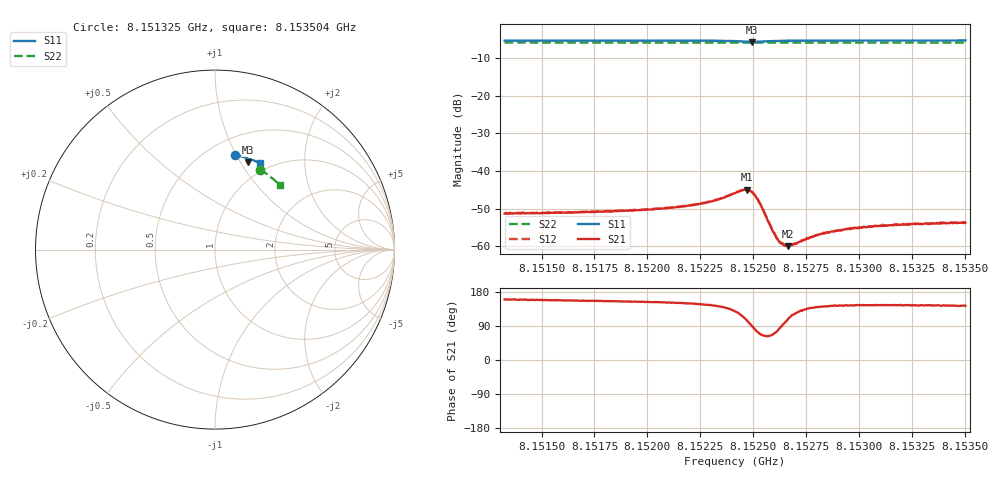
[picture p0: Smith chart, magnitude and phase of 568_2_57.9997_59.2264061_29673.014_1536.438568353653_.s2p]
#  HZ  S  RI  R  50.00
! Rohde & Schwarz Vector Network Analyzer
! Rohde-Schwarz,ZNB20-2Port,1311601062101988,3.16
! Created: UTC 3/21/2024, 1:15:48 AM
! freq[Hz]  re:S11  im:S11  re:S21  im:S21  re:S12  im:S12  re:S22  im:S22
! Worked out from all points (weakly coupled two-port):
!   401 points, 8.151325 GHz to 8.153504 GHz, reference 50 ohm
!   highest |S21| = -44.90 dB at 8.152469 GHz (marker M1); lowest = -59.9 dB at 8.152665 GHz (marker M2)
!   lowest |S11| = -5.7 dB at 8.152496 GHz (marker M3), VSWR 3.16, Z = 40.4 + j53.7 ohm
!   |S11| at or under -10 dB: nowhere
!   |S22| runs from -5.9 to -5.8 dB; largest |S21 - S12| = 0.00013
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8.1513254e9  0.1124 0.5278  -0.00257 0.000937  -0.00258 0.00099  0.2516 0.4452
8.1516903e9  0.1377 0.5222  -0.00264 0.00116  -0.00261 0.00116  0.2716 0.4327
8.1520552e9  0.1636 0.5152  -0.00281 0.00144  -0.00278 0.00152  0.2907 0.4194
8.1521641e9  0.1717 0.5123  -0.00296 0.00167  -0.00296 0.00175  0.2962 0.4154
8.1522784e9  0.1808 0.5083  -0.00315 0.00215  -0.00317 0.00219  0.3023 0.4109
8.1523547e9  0.1873 0.5036  -0.00337 0.00284  -0.00337 0.00293  0.3061 0.4079
8.1524146e9  0.1919 0.4968  -0.00317 0.00399  -0.00318 0.00407  0.3089 0.4052
8.1524691e9  0.1887 0.487  -0.00152 0.00548  -0.00146 0.00551  0.3111 0.4028
8.1524963e9  0.1825 0.486  0.00012 0.00521  0.000232 0.00527  0.3125 0.4018
8.1525126e9  0.1792 0.4883  0.000922 0.00451  0.000978 0.00454  0.3131 0.4012
8.152529e9  0.1775 0.4916  0.0013 0.00361  0.00135 0.00367  0.3139 0.4008
8.1525834e9  0.1816 0.5002  0.000787 0.00164  0.000815 0.00168  0.3167 0.3992
8.1526052e9  0.1844 0.5016  0.000421 0.00134  0.000472 0.00135  0.3179 0.3982
8.1526161e9  0.1858 0.5022  0.000271 0.00122  0.000238 0.00119  0.3183 0.3977
8.1526379e9  0.1884 0.5027  -3.23e-05 0.00109  2.52e-06 0.00111  0.3194 0.397
8.1526651e9  0.1914 0.5028  -0.000312 0.00096  -0.000295 0.000976  0.3209 0.3959
8.1526978e9  0.1947 0.5027  -0.000568 0.000919  -0.000569 0.000927  0.3225 0.3945
8.1527795e9  0.202 0.5012  -0.000995 0.000907  -0.000998 0.000907  0.3265 0.391
8.1528231e9  0.2057 0.5001  -0.00114 0.000928  -0.00113 0.000948  0.3288 0.3893
8.1529374e9  0.2141 0.4974  -0.00139 0.000992  -0.00137 0.00102  0.3342 0.3844
8.1531444e9  0.2283 0.4917  -0.00156 0.00111  -0.00157 0.00115  0.3437 0.3754
8.1535038e9  0.2515 0.481  -0.00164 0.00126  -0.00162 0.00127  0.36 0.3592
